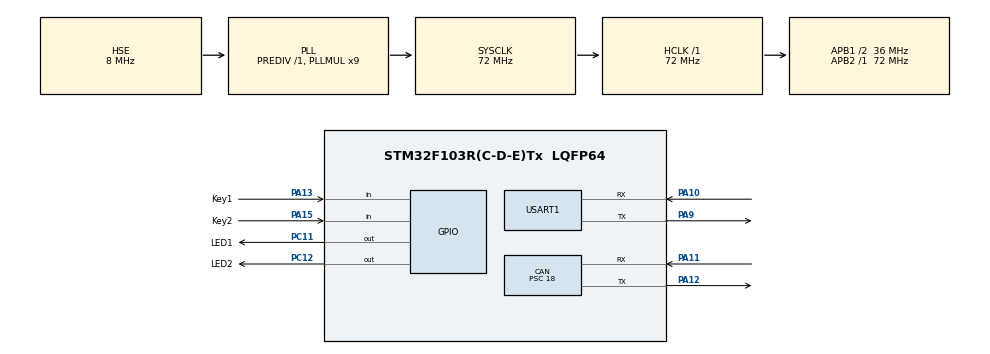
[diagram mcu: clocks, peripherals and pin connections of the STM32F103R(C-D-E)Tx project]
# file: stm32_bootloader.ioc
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CAN.BS1=CAN_BS1_5TQ
CAN.BS2=CAN_BS2_2TQ
CAN.CalculateBaudRate=250000
CAN.CalculateTimeBit=4000
CAN.CalculateTimeQuantum=500.0
CAN.Prescaler=18
Mcu.Family=STM32F1
Mcu.Name=STM32F103R(C-D-E)Tx
Mcu.Package=LQFP64
NVIC.CAN1_RX1_IRQn=true\:0\:0\:false\:false\:true\:true\:true\:true
NVIC.PriorityGroup=NVIC_PRIORITYGROUP_4
NVIC.TIM1_UP_IRQn=true\:15\:0\:false\:false\:true\:false\:true\:true
NVIC.TimeBase=TIM1_UP_IRQn
NVIC.TimeBaseIP=TIM1
PA10.Mode=Asynchronous
PA10.Signal=USART1_RX
PA11.Mode=CAN_Activate
PA11.Signal=CAN_RX
PA12.Mode=CAN_Activate
PA12.Signal=CAN_TX
PA13.GPIO_Label=Key1
PA13.Signal=GPIO_Input
PA15.GPIO_Label=Key2
PA15.Signal=GPIO_Input
PA9.Mode=Asynchronous
PA9.Signal=USART1_TX
PC11.GPIO_Label=LED1
PC11.Signal=GPIO_Output
PC12.GPIO_Label=LED2
PC12.Signal=GPIO_Output
PD0-OSC_IN.Mode=HSE-External-Oscillator
PD0-OSC_IN.Signal=RCC_OSC_IN
PD1-OSC_OUT.Mode=HSE-External-Oscillator
PD1-OSC_OUT.Signal=RCC_OSC_OUT
ProjectManager.HeapSize=0x200
ProjectManager.StackSize=0x400
ProjectManager.TargetToolchain=CMake
RCC.AHBFreq_Value=72000000
RCC.APB1CLKDivider=RCC_HCLK_DIV2
RCC.APB1Freq_Value=36000000
RCC.APB1TimFreq_Value=72000000
RCC.APB2Freq_Value=72000000
RCC.APB2TimFreq_Value=72000000
RCC.HCLKFreq_Value=72000000
RCC.PLLMUL=RCC_PLL_MUL9
RCC.PLLSourceVirtual=RCC_PLLSOURCE_HSE
RCC.SYSCLKFreq_VALUE=72000000
RCC.SYSCLKSource=RCC_SYSCLKSOURCE_PLLCLK
RCC.USBFreq_Value=72000000
USART1.VirtualMode=VM_ASYNC
VP_SYS_VS_ND.Mode=No_Debug
VP_SYS_VS_tim1.Mode=TIM1
board=custom

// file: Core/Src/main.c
/* USER CODE BEGIN Header */
/**
  ******************************************************************************
  * @file           : main.c
  * @brief          : Main program body
  ******************************************************************************
  * @attention
  *
  * Copyright (c) 2026 STMicroelectronics.
  * All rights reserved.
  *
  * This software is licensed under terms that can be found in the LICENSE file
  * in the root directory of this software component.
  * If no LICENSE file comes with this software, it is provided AS-IS.
  *
  ******************************************************************************
  */
/* USER CODE END Header */
#include "main.h"
#include "can.h"
#include "usart.h"
#include "gpio.h"

/* USER CODE BEGIN Includes */
#include "string.h"
#include "stdint.h"
#include "usart.h"
#include "fw_upgrade.h"
#include "fw_can.h"
#include "fw_uart.h"
/* USER CODE END Includes */

/* USER CODE BEGIN PV */
/* CAN传输层接口定义 */
#if USE_CAN_TRANSPORT
static const fw_transport_t can_transport = {
    .name = "CAN",
    .init = FW_CAN_Init,
    .process_rx_data = FW_CAN_ProcessRxData,
    .send_response = FW_CAN_SendResponse,
    .wait_tx_complete = FW_CAN_WaitTxComplete
};
#define TRANSPORT_LAYER &can_transport
#else
/* UART传输层接口定义 */
static const fw_transport_t uart_transport = {
    .name = "UART",
    .init = FW_UART_Init,
    .process_rx_data = FW_UART_ProcessRxData,
    .send_response = FW_UART_SendResponse,
    .wait_tx_complete = FW_UART_WaitTxComplete
};
#define TRANSPORT_LAYER &uart_transport
#endif
/* USER CODE END PV */

void SystemClock_Config(void);

int main(void)
{

  /* MCU Configuration--------------------------------------------------------*/

  /* Reset of all peripherals, Initializes the Flash interface and the Systick. */
  HAL_Init();

  /* Configure the system clock */
  SystemClock_Config();

  /* Initialize all configured peripherals */
  MX_GPIO_Init();
  MX_CAN_Init();
  MX_USART1_UART_Init();
  /* USER CODE BEGIN 2 */
  /* 输出Bootloader启动信息 */
  Log_printf("\r\n========================================\r\n");
  Log_printf("  STM32 Bootloader v%d.%d.%d\r\n", (BOOTLOADER_VERSION >> 24) & 0xFF,
             (BOOTLOADER_VERSION >> 16) & 0xFF, (BOOTLOADER_VERSION >> 8) & 0xFF);
  Log_printf("========================================\r\n");
  Log_printf("Flash: 0x%08X - 0x%08X\r\n", FLASH_APP_START_ADDR, FLASH_APP_END_ADDR);
  Log_printf("App Start: 0x%08X\r\n", APP_START_ADDR);

  /* 检测Key1按键状态，低电平为按下 */
  if (HAL_GPIO_ReadPin(Key1_GPIO_Port, Key1_Pin) == GPIO_PIN_RESET)
  {
    Log_printf("[BOOT] Key1 pressed, enter upgrade mode\r\n");
    FW_Upgrade_Init(TRANSPORT_LAYER);
  }
  else
  {
    /* Key1未按下，检查升级标志和应用固件 */
    if (CheckUpgradeFlag())
    {
      Log_printf("[BOOT] Upgrade flag detected, clearing flag...\r\n");
      ClearUpgradeFlag();
      Log_printf("[BOOT] Entering upgrade mode\r\n");
      FW_Upgrade_Init(TRANSPORT_LAYER);
    }
    else if (VerifyAppFirmware())
    {
      Log_printf("[BOOT] App firmware valid, jumping to 0x%08X\r\n", APP_START_ADDR);
      JumpToApp(APP_START_ADDR);
    }
    /* 应用固件无效，保持在bootloader模式 */
    else
    {
      Log_printf("[BOOT] App firmware invalid!\r\n");
      HAL_GPIO_WritePin(LED2_GPIO_Port, LED2_Pin, GPIO_PIN_SET);
      Log_printf("[BOOT] Staying in bootloader mode (LED2 ON)\r\n");
    }
  }
  /* USER CODE END 2 */

  /* Infinite loop */
  while (1)
  {

    /* USER CODE BEGIN 3 */
    /* 调用传输层处理接收数据 */
    const fw_transport_t *transport = FW_GetTransport();
    if (transport != NULL && transport->process_rx_data != NULL)
    {
      transport->process_rx_data();
    }
  }
  /* USER CODE END 3 */
}

void SystemClock_Config(void)
{
  RCC_OscInitTypeDef RCC_OscInitStruct = {0};
  RCC_ClkInitTypeDef RCC_ClkInitStruct = {0};

  /** Initializes the RCC Oscillators according to the specified parameters
  * in the RCC_OscInitTypeDef structure.
  */
  RCC_OscInitStruct.OscillatorType = RCC_OSCILLATORTYPE_HSE;
  RCC_OscInitStruct.HSEState = RCC_HSE_ON;
  RCC_OscInitStruct.HSEPredivValue = RCC_HSE_PREDIV_DIV1;
  RCC_OscInitStruct.HSIState = RCC_HSI_ON;
  RCC_OscInitStruct.PLL.PLLState = RCC_PLL_ON;
  RCC_OscInitStruct.PLL.PLLSource = RCC_PLLSOURCE_HSE;
  RCC_OscInitStruct.PLL.PLLMUL = RCC_PLL_MUL9;
  if (HAL_RCC_OscConfig(&RCC_OscInitStruct) != HAL_OK)
  {
    Error_Handler();
  }

  /** Initializes the CPU, AHB and APB buses clocks
  */
  RCC_ClkInitStruct.ClockType = RCC_CLOCKTYPE_HCLK|RCC_CLOCKTYPE_SYSCLK
                              |RCC_CLOCKTYPE_PCLK1|RCC_CLOCKTYPE_PCLK2;
  RCC_ClkInitStruct.SYSCLKSource = RCC_SYSCLKSOURCE_PLLCLK;
  RCC_ClkInitStruct.AHBCLKDivider = RCC_SYSCLK_DIV1;
  RCC_ClkInitStruct.APB1CLKDivider = RCC_HCLK_DIV2;
  RCC_ClkInitStruct.APB2CLKDivider = RCC_HCLK_DIV1;

  if (HAL_RCC_ClockConfig(&RCC_ClkInitStruct, FLASH_LATENCY_2) != HAL_OK)
  {
    Error_Handler();
  }
}

void HAL_TIM_PeriodElapsedCallback(TIM_HandleTypeDef *htim)
{
  if (htim->Instance == TIM1) {
    HAL_IncTick();
  }
}

void Error_Handler(void)
{
  __disable_irq();
  while (1)
  {
  }
}
